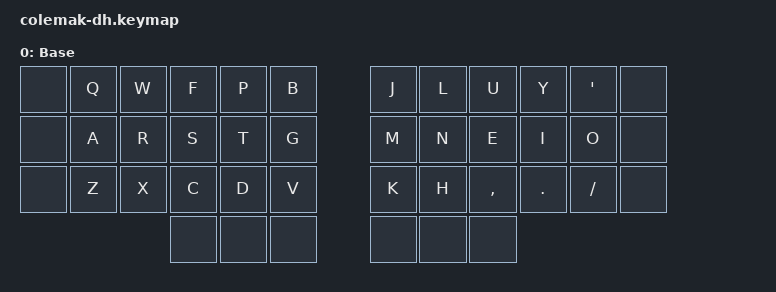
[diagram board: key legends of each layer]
#include <behaviors.dtsi>
#include <dt-bindings/zmk/keys.h>

/ {
    keymap {
        compatible = "zmk,keymap";

        Base {
            bindings = <
&none  &kp Q  &kp W  &kp F  &kp P  &kp B    &kp J  &kp L  &kp U      &kp Y       &kp SINGLE_QUOTE  &none
&none  &kp A  &kp R  &kp S  &kp T  &kp G    &kp M  &kp N  &kp E      &kp I       &kp O             &none
&none  &kp Z  &kp X  &kp C  &kp D  &kp V    &kp K  &kp H  &kp COMMA  &kp PERIOD  &kp SLASH         &none
                     &none  &none  &none    &none  &none  &none
            >;
        };
    };
};
